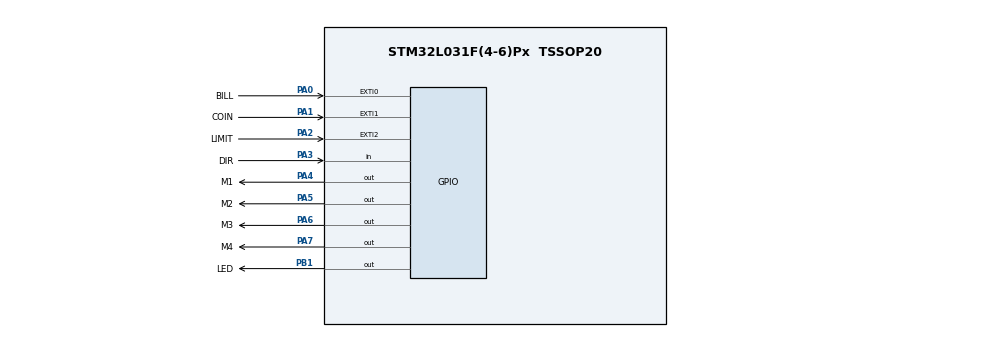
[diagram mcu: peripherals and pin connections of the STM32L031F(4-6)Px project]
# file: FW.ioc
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Mcu.Family=STM32L0
Mcu.Name=STM32L031F(4-6)Px
Mcu.Package=TSSOP20
NVIC.EXTI0_1_IRQn=true\:0\:0\:false\:false\:true\:true\:true\:true
NVIC.EXTI2_3_IRQn=true\:0\:0\:false\:false\:true\:true\:true\:true
NVIC.TIM2_IRQn=true\:0\:0\:false\:false\:true\:true\:true\:true
PA0-CK_IN.GPIO_Label=BILL
PA0-CK_IN.Signal=GPXTI0
PA1.GPIO_Label=COIN
PA1.Signal=GPXTI1
PA13.Mode=Serial_Wire
PA13.Signal=SYS_SWDIO
PA14.Mode=Serial_Wire
PA14.Signal=SYS_SWCLK
PA2.GPIO_Label=LIMIT
PA2.Signal=GPXTI2
PA3.GPIO_Label=DIR
PA3.Signal=GPIO_Input
PA4.GPIO_Label=M1
PA4.Signal=GPIO_Output
PA5.GPIO_Label=M2
PA5.Signal=GPIO_Output
PA6.GPIO_Label=M3
PA6.Signal=GPIO_Output
PA7.GPIO_Label=M4
PA7.Signal=GPIO_Output
PB1.GPIO_Label=LED
PB1.Signal=GPIO_Output
ProjectManager.HeapSize=0x200
ProjectManager.StackSize=0x400
ProjectManager.TargetToolchain=Makefile
RCC.AHBFreq_Value=32000000
RCC.APB1Freq_Value=32000000
RCC.APB1TimFreq_Value=32000000
RCC.APB2Freq_Value=32000000
RCC.APB2TimFreq_Value=32000000
RCC.HCLKFreq_Value=32000000
RCC.HSE_VALUE=8000000
RCC.HSI16_VALUE=16000000
RCC.HSI_VALUE=16000000
RCC.LSE_VALUE=32768
RCC.MSI_VALUE=2097000
RCC.PLLMUL=RCC_PLLMUL_4
RCC.SYSCLKFreq_VALUE=32000000
RCC.SYSCLKSource=RCC_SYSCLKSOURCE_PLLCLK
RCC.VCOOutputFreq_Value=64000000
VP_TIM2_VS_ClockSourceINT.Mode=Internal
board=custom

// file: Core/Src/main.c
/* USER CODE BEGIN Header */
/**
  ******************************************************************************
  * @file           : main.c
  * @brief          : Main program body
  ******************************************************************************
  * @attention
  *
  * Copyright (c) 2022 STMicroelectronics.
  * All rights reserved.
  *
  * This software is licensed under terms that can be found in the LICENSE file
  * in the root directory of this software component.
  * If no LICENSE file comes with this software, it is provided AS-IS.
  *
  ******************************************************************************
  */
/* USER CODE END Header */
#include "main.h"
#include "tim.h"
#include "gpio.h"
#include "TelescopeCover.h"

void SystemClock_Config(void);

/* USER CODE BEGIN 0 */
volatile uint16_t count = 0;
volatile uint8_t Cloasing_now = 0;
/* USER CODE END 0 */

int main(void)
{

  /* MCU Configuration--------------------------------------------------------*/

  /* Reset of all peripherals, Initializes the Flash interface and the Systick. */
  LL_APB2_GRP1_EnableClock(LL_APB2_GRP1_PERIPH_SYSCFG);
  LL_APB1_GRP1_EnableClock(LL_APB1_GRP1_PERIPH_PWR);

  /* SysTick_IRQn interrupt configuration */
  NVIC_SetPriority(SysTick_IRQn, 3);

  /* Configure the system clock */
  SystemClock_Config();

  /* Initialize all configured peripherals */
  MX_GPIO_Init();
  MX_TIM2_Init();

  /* USER CODE BEGIN 2 */
  LL_GPIO_ResetOutputPin(LED_GPIO_Port,LED_Pin);
  LL_EXTI_EnableFallingTrig_0_31(LL_EXTI_LINE_0);
  LL_EXTI_EnableFallingTrig_0_31(LL_EXTI_LINE_1);
  //LL_EXTI_EnableFallingTrig_0_31(LL_EXTI_LINE_2);
  initCover(); //Init cover for defination opening and cloasing steps;
  LL_TIM_ClearFlag_UPDATE(TIM2);
  LL_TIM_EnableIT_UPDATE(TIM2);
  count = 0; // Global variable for mony inserted and calculet time opening cover
  /* USER CODE END 2 */

  /* Infinite loop */
  /* USER CODE BEGIN WHILE */
  while (1)
  {
    if ((!LL_TIM_IsEnabledCounter(TIM2)) && (count >0))
      {
        LL_GPIO_SetOutputPin(LED_GPIO_Port,LED_Pin);
        TIM2->ARR = 1000*60-1; // Loading in timer registr time 1 min
        LL_TIM_EnableCounter(TIM2);
        openCover();
      }
    if (Cloasing_now)
      {
        closeCover();
        Cloasing_now = false;
      }
    if ((!LL_TIM_IsEnabledCounter(TIM2)))
      {
        LL_GPIO_TogglePin(LED_GPIO_Port,LED_Pin);
        LL_mDelay(250);
      }
    /* USER CODE END WHILE */

  }
}

void SystemClock_Config(void)
{
  LL_FLASH_SetLatency(LL_FLASH_LATENCY_1);
  while(LL_FLASH_GetLatency()!= LL_FLASH_LATENCY_1)
  {
  }
  LL_PWR_SetRegulVoltageScaling(LL_PWR_REGU_VOLTAGE_SCALE1);
  LL_RCC_HSI_Enable();

   /* Wait till HSI is ready */
  while(LL_RCC_HSI_IsReady() != 1)
  {

  }
  LL_RCC_HSI_SetCalibTrimming(16);
  LL_RCC_PLL_ConfigDomain_SYS(LL_RCC_PLLSOURCE_HSI, LL_RCC_PLL_MUL_4, LL_RCC_PLL_DIV_2);
  LL_RCC_PLL_Enable();

   /* Wait till PLL is ready */
  while(LL_RCC_PLL_IsReady() != 1)
  {

  }
  LL_RCC_SetAHBPrescaler(LL_RCC_SYSCLK_DIV_1);
  LL_RCC_SetAPB1Prescaler(LL_RCC_APB1_DIV_1);
  LL_RCC_SetAPB2Prescaler(LL_RCC_APB2_DIV_1);
  LL_RCC_SetSysClkSource(LL_RCC_SYS_CLKSOURCE_PLL);

   /* Wait till System clock is ready */
  while(LL_RCC_GetSysClkSource() != LL_RCC_SYS_CLKSOURCE_STATUS_PLL)
  {

  }

  LL_Init1msTick(32000000);

  LL_SetSystemCoreClock(32000000);
}

void Error_Handler(void)
{
  __disable_irq();
  while (1)
  {
  }
}
